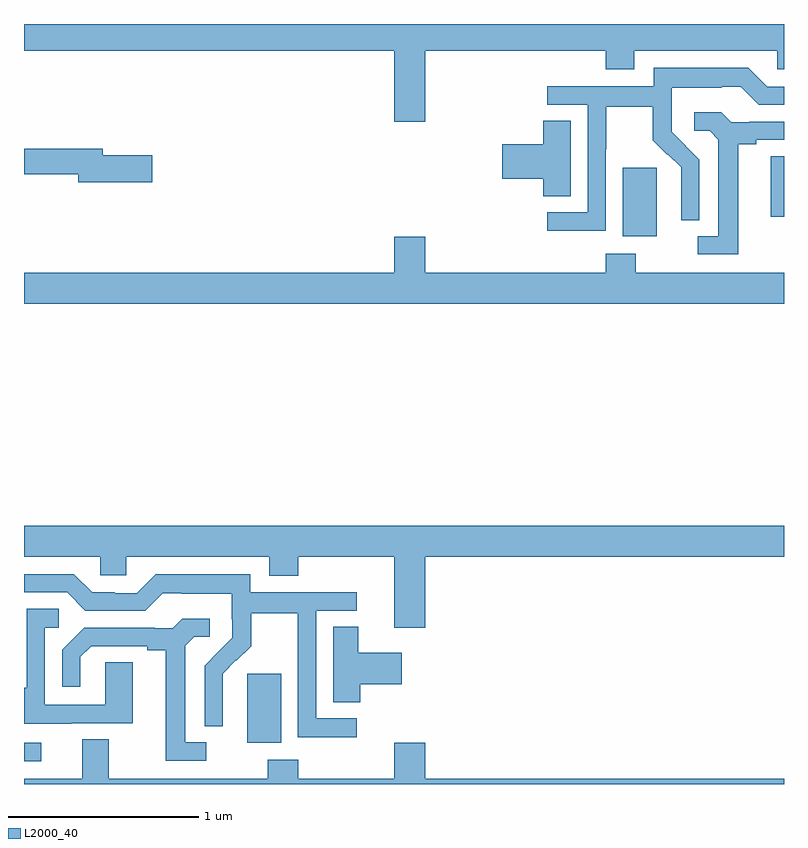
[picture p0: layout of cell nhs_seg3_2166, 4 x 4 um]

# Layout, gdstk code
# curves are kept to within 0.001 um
import gdstk
lib = gdstk.Library(unit=1e-6, precision=1e-09)
def R(c, l, rs):  # rectangles x0, y0, x1, y1
    for r in rs: c.add(gdstk.rectangle(r[:2], r[2:], *l))
def P(c, l, *ps):  # polygons
    for p in ps: c.add(gdstk.Polygon(p, *l))
L2000_40 = (2000, 40)

nhs_seg3_2166 = lib.new_cell('nhs_seg3_2166')
R(nhs_seg3_2166, L2000_40, [(223,686.52,223.09,686.616), (224.174,686.618,224.353,686.979), (226.151,689.282,226.33,689.643), (226.931,689.385,227,689.705)])
P(nhs_seg3_2166, L2000_40, [(225.112,690.26),(226.061,690.26),(226.061,690.161),(226.213,690.161),(226.213,690.26),(226.965,690.26),(226.965,690.162),(227,690.162),(227,690.4),(223,690.4),(223,690.26),(224.948,690.26),(224.948,689.886),(225.112,689.886)],
  [(226.062,689.74),(226.065,689.74),(226.065,689.964),(226.309,689.964),(226.309,689.789),(226.386,689.712),(226.389,689.715),(226.46,689.645),(226.46,689.522),(226.458,689.522),(226.458,689.368),(226.554,689.368),(226.554,689.686),(226.408,689.834),(226.408,689.931),(226.41,689.931),(226.41,690.065),(226.673,690.065),(226.673,690.069),(226.773,690.069),(226.866,689.976),(227,689.976),(227,690.069),(226.911,690.069),(226.811,690.169),(226.314,690.169),(226.314,690.072),(225.753,690.072),(225.753,689.976),(225.966,689.976),(225.966,689.409),(225.753,689.409),(225.753,689.311),(226.062,689.311)],
  [(226.759,689.768),(226.855,689.768),(226.855,689.79),(227,689.79),(227,689.886),(226.816,689.886),(226.816,689.883),(226.722,689.883),(226.67,689.935),(226.527,689.935),(226.527,689.838),(226.608,689.838),(226.655,689.791),(226.655,689.283),(226.545,689.283),(226.545,689.187),(226.759,689.187)],
  [(225.877,689.891),(225.734,689.891),(225.734,689.768),(225.516,689.768),(225.516,689.585),(225.734,689.585),(225.734,689.494),(225.877,689.494)],
  [(223.675,689.708),(223.414,689.708),(223.414,689.744),(223,689.744),(223,689.608),(223.286,689.608),(223.286,689.566),(223.675,689.566)],
  [(227,689.092),(226.221,689.092),(226.221,689.191),(226.061,689.191),(226.061,689.092),(225.112,689.092),(225.112,689.281),(224.948,689.281),(224.948,689.092),(223,689.092),(223,688.928),(227,688.928)],
  [(225.112,687.596),(227,687.596),(227,687.76),(223,687.76),(223,687.596),(223.401,687.596),(223.401,687.498),(223.539,687.498),(223.539,687.596),(224.291,687.596),(224.291,687.497),(224.444,687.497),(224.444,687.596),(224.948,687.596),(224.948,687.222),(225.112,687.222)],
  [(224.752,686.745),(224.538,686.745),(224.538,687.312),(224.752,687.312),(224.752,687.408),(224.19,687.408),(224.19,687.505),(223.693,687.505),(223.593,687.405),(223.478,687.405),(223.478,687.408),(223.359,687.408),(223.263,687.504),(223,687.504),(223,687.408),(223.227,687.408),(223.323,687.312),(223.638,687.312),(223.731,687.405),(223.831,687.405),(223.831,687.401),(224.094,687.401),(224.094,687.267),(224.096,687.267),(224.096,687.17),(223.95,687.022),(223.95,686.704),(224.046,686.704),(224.045,686.981),(224.115,687.051),(224.118,687.048),(224.195,687.125),(224.195,687.3),(224.44,687.3),(224.44,687.076),(224.442,687.076),(224.442,686.647),(224.752,686.647)],
  [(223.249,686.721),(223.573,686.721),(223.573,687.041),(223.428,687.041),(223.428,686.817),(223.11,686.817),(223.11,687.222),(223.183,687.222),(223.183,687.323),(223.014,687.323),(223.014,686.907),(223,686.907),(223,686.717),(223.249,686.717)],
  [(223.96,686.619),(223.849,686.619),(223.849,687.127),(223.896,687.174),(223.978,687.174),(223.978,687.271),(223.834,687.271),(223.782,687.219),(223.688,687.219),(223.688,687.222),(223.316,687.222),(223.2,687.106),(223.2,686.913),(223.297,686.913),(223.297,687.069),(223.354,687.126),(223.649,687.126),(223.649,687.104),(223.745,687.104),(223.745,686.523),(223.96,686.523)],
  [(224.771,686.926),(224.989,686.926),(224.989,687.091),(224.758,687.091),(224.758,687.227),(224.627,687.227),(224.627,686.83),(224.771,686.83)],
  [(223.307,686.636),(223.307,686.428),(223,686.428),(223,686.4),(227,686.4),(227,686.428),(225.112,686.428),(225.112,686.617),(224.948,686.617),(224.948,686.428),(224.444,686.428),(224.444,686.527),(224.284,686.527),(224.284,686.428),(223.447,686.428),(223.447,686.636)])

lib.write_gds('nhs_seg3_2166.gds')
